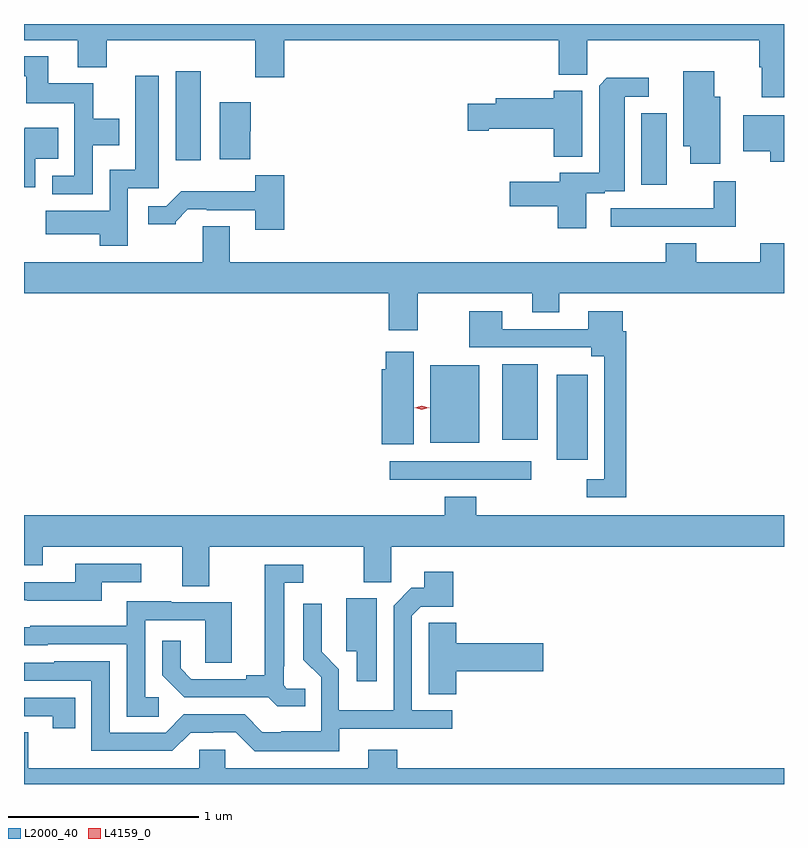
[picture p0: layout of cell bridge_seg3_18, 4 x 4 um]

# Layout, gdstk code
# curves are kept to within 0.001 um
import gdstk
lib = gdstk.Library(unit=1e-6, precision=1e-09)
def R(c, l, rs):  # rectangles x0, y0, x1, y1
    for r in rs: c.add(gdstk.rectangle(r[:2], r[2:], *l))
def P(c, l, *ps):  # polygons
    for p in ps: c.add(gdstk.Polygon(p, *l))
L2000_40 = (2000, 40)
L4159_0 = (4159, 0)

bridge_seg3_18 = lib.new_cell('bridge_seg3_18')
R(bridge_seg3_18, L2000_40, [(733.245,715.92,733.99,716.016), (734.126,716.025,734.287,716.473), (733.46,716.114,733.717,716.521), (733.838,716.129,734.026,716.527), (734.57,717.471,734.704,717.847), (732.119,717.6,732.25,718.069)])
P(bridge_seg3_18, L2000_40, [(735.321,718.318),(731.321,718.318),(731.321,718.232),(731.603,718.232),(731.603,718.091),(731.756,718.091),(731.756,718.232),(732.539,718.232),(732.539,718.038),(732.692,718.038),(732.692,718.232),(734.135,718.232),(734.135,718.051),(734.285,718.051),(734.285,718.232),(735.191,718.232),(735.191,718.091),(735.203,718.091),(735.203,717.933),(735.321,717.933)],
  [(731.682,717.68),(731.821,717.68),(731.821,717.82),(731.685,717.82),(731.685,718.006),(731.449,718.006),(731.449,718.147),(731.321,718.147),(731.321,718.044),(731.333,718.044),(731.333,717.902),(731.586,717.902),(731.586,717.519),(731.469,717.519),(731.469,717.423),(731.682,717.423)],
  [(734.986,717.934),(734.953,717.934),(734.953,718.069),(734.792,718.069),(734.792,717.674),(734.828,717.674),(734.828,717.582),(734.986,717.582)],
  [(731.868,717.453),(732.031,717.453),(732.031,718.045),(731.906,718.045),(731.906,717.55),(731.772,717.55),(731.772,717.334),(731.436,717.334),(731.436,717.212),(731.72,717.212),(731.72,717.15),(731.868,717.15)],
  [(734.281,717.426),(734.378,717.426),(734.378,717.438),(734.482,717.438),(734.482,717.936),(734.608,717.936),(734.608,718.034),(734.389,718.034),(734.348,717.992),(734.348,717.534),(734.141,717.534),(734.141,717.487),(733.878,717.487),(733.878,717.358),(734.129,717.358),(734.129,717.243),(734.281,717.243)],
  [(734.26,717.966),(734.108,717.966),(734.108,717.927),(733.805,717.927),(733.805,717.897),(733.656,717.897),(733.656,717.755),(733.768,717.755),(733.768,717.767),(734.108,717.767),(734.108,717.619),(734.26,717.619)],
  [(732.512,717.753),(732.514,717.753),(732.514,717.907),(732.35,717.907),(732.35,717.605),(732.512,717.605)],
  [(735.321,717.838),(735.107,717.838),(735.107,717.647),(735.248,717.647),(735.248,717.592),(735.321,717.592)],
  [(731.38,717.608),(731.501,717.608),(731.501,717.772),(731.325,717.772),(731.321,717.768),(731.321,717.458),(731.38,717.458)],
  [(732.692,717.523),(732.537,717.523),(732.537,717.439),(732.148,717.439),(732.069,717.36),(731.976,717.36),(731.976,717.263),(732.12,717.263),(732.12,717.278),(732.184,717.342),(732.283,717.342),(732.283,717.339),(732.539,717.339),(732.539,717.234),(732.692,717.234)],
  [(735.068,717.49),(734.95,717.49),(734.95,717.348),(734.409,717.348),(734.409,717.252),(735.068,717.252)],
  [(733.393,716.9),(733.997,716.9),(733.997,716.801),(734.137,716.801),(734.137,716.9),(735.321,716.9),(735.321,717.163),(735.196,717.163),(735.196,717.064),(734.859,717.064),(734.859,717.163),(734.699,717.163),(734.699,717.064),(732.403,717.064),(732.403,717.254),(732.263,717.254),(732.263,717.064),(731.321,717.064),(731.321,716.9),(733.241,716.9),(733.241,716.706),(733.393,716.706)],
  [(734.492,716.702),(734.473,716.702),(734.473,716.806),(734.291,716.806),(734.291,716.712),(733.837,716.712),(733.837,716.806),(733.664,716.806),(733.664,716.616),(734.306,716.616),(734.306,716.57),(734.376,716.57),(734.376,715.923),(734.283,715.923),(734.283,715.827),(734.492,715.827)],
  [(733.372,716.593),(733.226,716.593),(733.226,716.502),(733.205,716.502),(733.205,716.105),(733.372,716.105)],
  [(732.295,715.568),(733.108,715.568),(733.108,715.381),(733.254,715.381),(733.254,715.568),(735.321,715.568),(735.321,715.732),(733.7,715.732),(733.7,715.831),(733.535,715.831),(733.535,715.732),(731.321,715.732),(731.321,715.469),(731.419,715.469),(731.419,715.568),(732.155,715.568),(732.155,715.36),(732.295,715.36)],
  [(731.731,715.38),(731.938,715.38),(731.938,715.476),(731.591,715.476),(731.591,715.38),(731.321,715.38),(731.321,715.286),(731.338,715.286),(731.338,715.283),(731.731,715.283)],
  [(732.8,714.819),(732.705,714.819),(732.687,714.837),(732.687,714.937),(732.691,714.937),(732.691,715.377),(732.79,715.377),(732.79,715.473),(732.587,715.473),(732.587,714.89),(732.491,714.89),(732.491,714.87),(732.202,714.87),(732.145,714.927),(732.145,715.072),(732.048,715.072),(732.048,714.89),(732.164,714.774),(732.606,714.774),(732.654,714.727),(732.8,714.727)],
  [(732.979,714.609),(733.576,714.609),(733.576,714.705),(733.362,714.705),(733.362,715.203),(733.41,715.251),(733.58,715.251),(733.58,715.435),(733.427,715.435),(733.427,715.35),(733.359,715.35),(733.266,715.257),(733.266,714.706),(732.978,714.706),(732.978,714.922),(732.887,715.014),(732.888,715.267),(732.792,715.267),(732.792,714.972),(732.885,714.879),(732.885,714.595),(732.676,714.595),(732.676,714.591),(732.576,714.591),(732.483,714.684),(732.162,714.684),(732.066,714.588),(731.772,714.588),(731.772,714.964),(731.481,714.964),(731.481,714.957),(731.321,714.957),(731.321,714.861),(731.676,714.861),(731.676,714.492),(732.102,714.492),(732.198,714.588),(732.318,714.588),(732.318,714.591),(732.435,714.591),(732.535,714.491),(732.979,714.491)],
  [(733.177,715.296),(733.016,715.296),(733.016,715.017),(733.073,715.017),(733.073,714.858),(733.177,714.858)],
  [(732.031,714.774),(731.958,714.774),(731.958,715.179),(732.276,715.179),(732.276,714.955),(732.415,714.955),(732.415,715.275),(732.097,715.275),(732.097,715.279),(731.861,715.279),(731.861,715.15),(731.355,715.15),(731.355,715.143),(731.321,715.143),(731.321,715.047),(731.445,715.047),(731.445,715.053),(731.862,715.053),(731.862,714.673),(732.031,714.673)],
  [(733.595,714.911),(734.053,714.911),(734.053,715.058),(733.595,715.058),(733.595,715.166),(733.452,715.166),(733.452,715.058),(733.451,715.058),(733.451,714.79),(733.595,714.79)],
  [(731.591,714.771),(731.321,714.771),(731.321,714.675),(731.473,714.675),(731.473,714.612),(731.591,714.612)],
  [(735.321,714.4),(733.286,714.4),(733.286,714.499),(733.133,714.499),(733.133,714.4),(732.381,714.4),(732.381,714.498),(732.243,714.498),(732.243,714.4),(731.343,714.4),(731.343,714.59),(731.321,714.59),(731.321,714.318),(735.321,714.318)])
P(bridge_seg3_18, L4159_0, [(733.415,716.288),(733.378,716.298),(733.378,716.298),(733.378,716.299),(733.415,716.308),(733.452,716.299),(733.453,716.298),(733.452,716.298)])

lib.write_gds('bridge_seg3_18.gds')
